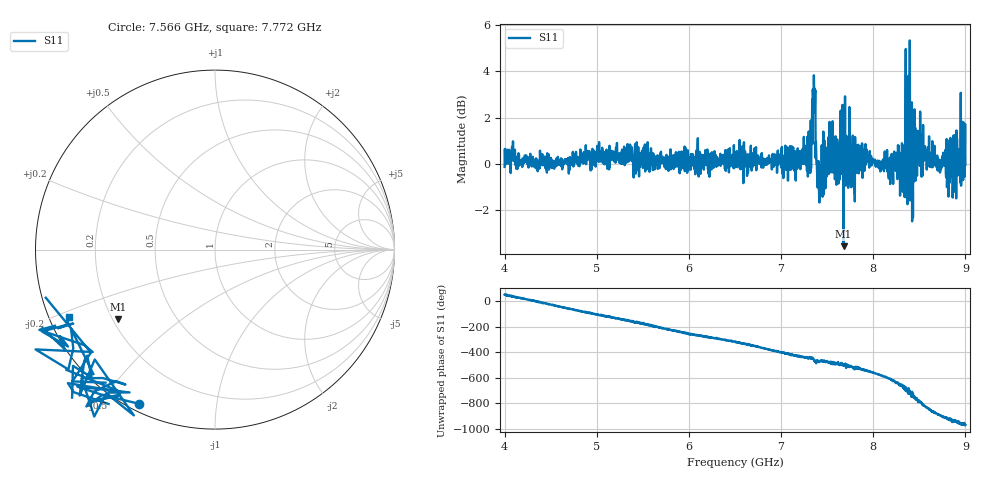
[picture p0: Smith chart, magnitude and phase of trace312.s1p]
! Created with skrf 1.8.0 (http://scikit-rf.org).
# Hz S RI R 50.0
!freq ReS11 ImS11
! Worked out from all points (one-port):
!   1601 points, 4 GHz to 9 GHz, reference 50 ohm
!   lowest |S11| = -3.5 dB at 7.678 GHz (marker M1), VSWR 4.97, Z = 11.1 - j15.4 ohm
!   |S11| at or under -10 dB: nowhere
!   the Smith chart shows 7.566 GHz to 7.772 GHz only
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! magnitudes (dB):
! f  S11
! 4 GHz  -0.1
! 4.625 GHz  -0.2
! 5.25 GHz  0.1
! 5.875 GHz  0.0
! 6.5 GHz  0.5
! 7.125 GHz  0.6
! 7.294 GHz  0.5
! 7.316 GHz  -0.4
! 7.347 GHz  3.0
! 7.369 GHz  3.0
! 7.4 GHz  -0.3
! 7.412 GHz  -1.2
! 7.534 GHz  0.0
! 7.609 GHz  1.1
! 7.678 GHz  -3.5
! 7.75 GHz  -0.1
! 8.253 GHz  -0.1
! 8.316 GHz  0.2
! 8.328 GHz  -0.9
! 8.347 GHz  1.1
! 8.375 GHz  0.9
! 8.381 GHz  0.3
! 8.394 GHz  1.3
! 8.447 GHz  2.4
! 8.503 GHz  1.0
! 8.722 GHz  -0.2
! 8.972 GHz  0.5
! 9 GHz  0.0
